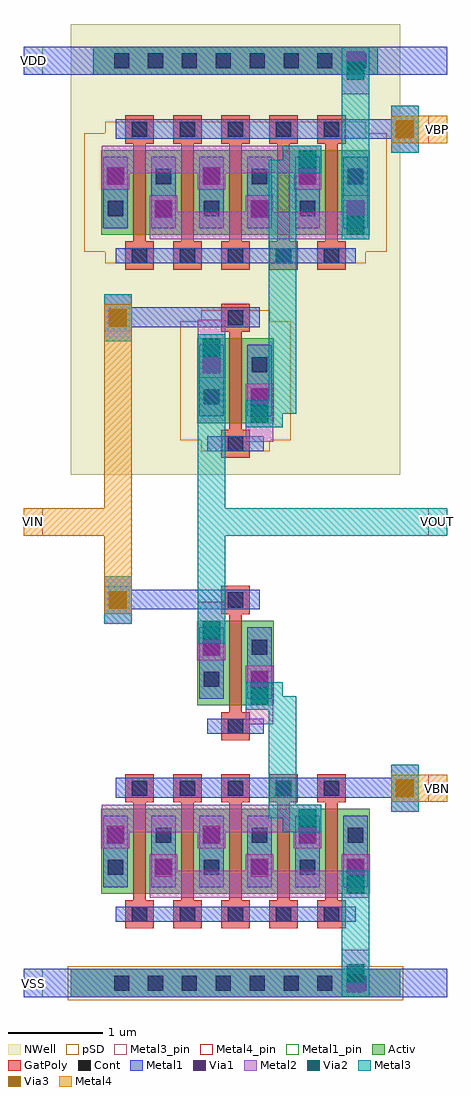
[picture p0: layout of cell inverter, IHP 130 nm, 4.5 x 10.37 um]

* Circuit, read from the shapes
.subckt inverter VBN VBP VDD VIN VOUT VSS
XM1 VSS VBN dev_n_w0p9_l0p13_ng5_noguard_m1_3/D0 VSS sg13_lv_nmos w=0.9u l=0.13u m=5
XM2 dev_n_w0p9_l0p13_ng5_noguard_m1_3/D0 VIN VOUT VSS sg13_lv_nmos w=0.9u l=0.13u
XM3 VDD VBP dev_p_w0p9_l0p13_ng5_noguard_m1_0/D0 VDD sg13_lv_pmos w=0.9u l=0.13u m=5
XM4 dev_p_w0p9_l0p13_ng5_noguard_m1_0/D0 VIN VOUT VDD sg13_lv_pmos w=0.9u l=0.13u
.ends

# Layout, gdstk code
import gdstk
lib = gdstk.Library(unit=1e-6, precision=1e-09)
def R(c, l, rs):  # rectangles x0, y0, x1, y1
    for r in rs: c.add(gdstk.rectangle(r[:2], r[2:], *l))
def A(c, l, x, y, w, h, nx, ny, dx, dy):  # array of equal rectangles
    R(c, l, [(x+i*dx, y+j*dy, x+i*dx+w, y+j*dy+h) for i in range(nx) for j in range(ny)])
Activ = (1, 0)
GatPoly = (5, 0)
Cont = (6, 0)
Metal1 = (8, 0)
Metal1_pin = (8, 2)
Metal2 = (10, 0)
pSD = (14, 0)
Via1 = (19, 0)
Via2 = (29, 0)
Metal3 = (30, 0)
Metal3_pin = (30, 2)
NWell = (31, 0)
Via3 = (49, 0)
Metal4 = (50, 0)
Metal4_pin = (50, 2)

dev_p_w0p9_l0p13_ng5_nog = lib.new_cell('dev_p_w0p9_l0p13_ng5_noguard_m1')
R(dev_p_w0p9_l0p13_ng5_nog, Activ, [(-1.425,-0.45,1.425,0.45)])
A(dev_p_w0p9_l0p13_ng5_nog, GatPoly, -1.17, -0.82, 0.3, 0.3, 5, 2, 0.51, 1.34)
A(dev_p_w0p9_l0p13_ng5_nog, GatPoly, -1.085, -0.52, 0.13, 1.04, 5, 1, 0.51, 0)
A(dev_p_w0p9_l0p13_ng5_nog, Cont, -1.1, -0.75, 0.16, 0.16, 5, 2, 0.51, 1.34)
A(dev_p_w0p9_l0p13_ng5_nog, Cont, -1.355, -0.25, 0.16, 0.16, 6, 2, 0.51, 0.34)
A(dev_p_w0p9_l0p13_ng5_nog, Metal1, -1.405, -0.38, 0.26, 0.76, 6, 1, 0.51, 0)
R(dev_p_w0p9_l0p13_ng5_nog, Metal1, [(-1.275,-0.75,1.275,-0.59), (-1.275,0.59,1.275,0.75)])
R(dev_p_w0p9_l0p13_ng5_nog, pSD, [(-1.385,-0.75,1.385,-0.63), (-1.605,-0.63,1.605,0.63), (-1.385,0.63,1.385,0.75)])
R(dev_p_w0p9_l0p13_ng5_nog, NWell, [(-1.735,-0.76,1.735,0.76)])
dev_p_w0p9_l0p13_ng5_nog.add(gdstk.Label('D0', (-1.275,0), layer=8, texttype=25))
dev_p_w0p9_l0p13_ng5_nog.add(gdstk.Label('G', (1.02,0.67), layer=8, texttype=25))
dev_p_w0p9_l0p13_ng5_nog.add(gdstk.Label('G', (0.51,0.67), layer=8, texttype=25))
dev_p_w0p9_l0p13_ng5_nog.add(gdstk.Label('G', (0,0.67), layer=8, texttype=25))
dev_p_w0p9_l0p13_ng5_nog.add(gdstk.Label('G', (-0.51,0.67), layer=8, texttype=25))
dev_p_w0p9_l0p13_ng5_nog.add(gdstk.Label('G', (-1.02,0.67), layer=8, texttype=25))
dev_p_w0p9_l0p13_ng5_nog.add(gdstk.Label('S1', (-0.765,0), layer=8, texttype=25))
dev_p_w0p9_l0p13_ng5_nog.add(gdstk.Label('D2', (-0.255,0), layer=8, texttype=25))
dev_p_w0p9_l0p13_ng5_nog.add(gdstk.Label('S3', (0.255,0), layer=8, texttype=25))
dev_p_w0p9_l0p13_ng5_nog.add(gdstk.Label('D4', (0.765,0), layer=8, texttype=25))
dev_p_w0p9_l0p13_ng5_nog.add(gdstk.Label('S4', (1.275,0), layer=8, texttype=25))

dev_p_w0p9_l0p13_ng1_nog = lib.new_cell('dev_p_w0p9_l0p13_ng1_noguard_m1')
R(dev_p_w0p9_l0p13_ng1_nog, Activ, [(-0.405,-0.45,0.405,0.45)])
R(dev_p_w0p9_l0p13_ng1_nog, GatPoly, [(-0.15,-0.82,0.15,-0.52), (-0.065,-0.52,0.065,0.52), (-0.15,0.52,0.15,0.82)])
R(dev_p_w0p9_l0p13_ng1_nog, Cont, [(-0.08,-0.75,0.08,-0.59), (-0.335,-0.25,-0.175,-0.09), (0.175,-0.25,0.335,-0.09), (-0.335,0.09,-0.175,0.25), (0.175,0.09,0.335,0.25), (-0.08,0.59,0.08,0.75)])
R(dev_p_w0p9_l0p13_ng1_nog, Metal1, [(-0.255,-0.75,0.255,-0.59), (-0.385,-0.38,-0.125,0.38), (0.125,-0.38,0.385,0.38), (-0.255,0.59,0.255,0.75)])
R(dev_p_w0p9_l0p13_ng1_nog, pSD, [(-0.365,-0.75,0.365,-0.63), (-0.585,-0.63,0.585,0.63), (-0.365,0.63,0.365,0.75)])
R(dev_p_w0p9_l0p13_ng1_nog, NWell, [(-0.715,-0.76,0.715,0.76)])
dev_p_w0p9_l0p13_ng1_nog.add(gdstk.Label('D', (-0.255,0), layer=8, texttype=25))
dev_p_w0p9_l0p13_ng1_nog.add(gdstk.Label('S', (0.255,0), layer=8, texttype=25))
dev_p_w0p9_l0p13_ng1_nog.add(gdstk.Label('G', (0,0.67), layer=8, texttype=25))

dev_n_w0p9_l0p13_ng1_nog = lib.new_cell('dev_n_w0p9_l0p13_ng1_noguard_m1')
R(dev_n_w0p9_l0p13_ng1_nog, Activ, [(-0.405,-0.45,0.405,0.45)])
R(dev_n_w0p9_l0p13_ng1_nog, GatPoly, [(-0.15,-0.82,0.15,-0.52), (-0.065,-0.52,0.065,0.52), (-0.15,0.52,0.15,0.82)])
R(dev_n_w0p9_l0p13_ng1_nog, Cont, [(-0.08,-0.75,0.08,-0.59), (-0.335,-0.25,-0.175,-0.09), (0.175,-0.25,0.335,-0.09), (-0.335,0.09,-0.175,0.25), (0.175,0.09,0.335,0.25), (-0.08,0.59,0.08,0.75)])
R(dev_n_w0p9_l0p13_ng1_nog, Metal1, [(-0.255,-0.75,0.255,-0.59), (-0.385,-0.38,-0.125,0.38), (0.125,-0.38,0.385,0.38), (-0.255,0.59,0.255,0.75)])
dev_n_w0p9_l0p13_ng1_nog.add(gdstk.Label('D', (-0.255,0), layer=8, texttype=25))
dev_n_w0p9_l0p13_ng1_nog.add(gdstk.Label('S', (0.255,0), layer=8, texttype=25))
dev_n_w0p9_l0p13_ng1_nog.add(gdstk.Label('G', (0,0.67), layer=8, texttype=25))

dev_n_w0p9_l0p13_ng5_nog = lib.new_cell('dev_n_w0p9_l0p13_ng5_noguard_m1')
R(dev_n_w0p9_l0p13_ng5_nog, Activ, [(-1.425,-0.45,1.425,0.45)])
A(dev_n_w0p9_l0p13_ng5_nog, GatPoly, -1.17, -0.82, 0.3, 0.3, 5, 2, 0.51, 1.34)
A(dev_n_w0p9_l0p13_ng5_nog, GatPoly, -1.085, -0.52, 0.13, 1.04, 5, 1, 0.51, 0)
A(dev_n_w0p9_l0p13_ng5_nog, Cont, -1.1, -0.75, 0.16, 0.16, 5, 2, 0.51, 1.34)
A(dev_n_w0p9_l0p13_ng5_nog, Cont, -1.355, -0.25, 0.16, 0.16, 6, 2, 0.51, 0.34)
A(dev_n_w0p9_l0p13_ng5_nog, Metal1, -1.405, -0.38, 0.26, 0.76, 6, 1, 0.51, 0)
R(dev_n_w0p9_l0p13_ng5_nog, Metal1, [(-1.275,-0.75,1.275,-0.59), (-1.275,0.59,1.275,0.75)])
dev_n_w0p9_l0p13_ng5_nog.add(gdstk.Label('D0', (-1.275,0), layer=8, texttype=25))
dev_n_w0p9_l0p13_ng5_nog.add(gdstk.Label('G', (1.02,0.67), layer=8, texttype=25))
dev_n_w0p9_l0p13_ng5_nog.add(gdstk.Label('G', (0.51,0.67), layer=8, texttype=25))
dev_n_w0p9_l0p13_ng5_nog.add(gdstk.Label('G', (0,0.67), layer=8, texttype=25))
dev_n_w0p9_l0p13_ng5_nog.add(gdstk.Label('G', (-0.51,0.67), layer=8, texttype=25))
dev_n_w0p9_l0p13_ng5_nog.add(gdstk.Label('G', (-1.02,0.67), layer=8, texttype=25))
dev_n_w0p9_l0p13_ng5_nog.add(gdstk.Label('S1', (-0.765,0), layer=8, texttype=25))
dev_n_w0p9_l0p13_ng5_nog.add(gdstk.Label('D2', (-0.255,0), layer=8, texttype=25))
dev_n_w0p9_l0p13_ng5_nog.add(gdstk.Label('S3', (0.255,0), layer=8, texttype=25))
dev_n_w0p9_l0p13_ng5_nog.add(gdstk.Label('D4', (0.765,0), layer=8, texttype=25))
dev_n_w0p9_l0p13_ng5_nog.add(gdstk.Label('S4', (1.275,0), layer=8, texttype=25))

inverter = lib.new_cell('inverter')
R(inverter, Activ, [(-1.75,-3.55,1.75,-3.25), (-1.51,6.25,1.51,6.55)])
A(inverter, Cont, -1.29, -3.48, 0.16, 0.16, 8, 2, 0.36, 9.8)
A(inverter, Metal1, -0.865, -2.275, 0.2, 0.2, 3, 2, 1.02, 7)
A(inverter, Metal1, -1.375, -1.925, 0.2, 0.2, 3, 2, 1.02, 7)
R(inverter, Metal1, [(-2.25,-3.55,2.25,-3.25), (1.655,-1.475,1.945,-1.43), (-1.275,-1.43,1.945,-1.22), (1.655,-1.22,1.945,-1.185), (-0.3,-0.75,0.3,-0.59), (0.155,-0.275,0.355,-0.075), (-0.355,0.075,-0.155,0.275), (-1.395,0.525,-1.105,0.57), (-1.395,0.57,0.255,0.78), (-1.395,0.78,-1.105,0.815), (-0.3,2.25,0.3,2.41), (0.155,2.725,0.355,2.925), (-0.355,3.075,-0.155,3.275), (-1.395,3.525,-1.105,3.57), (-1.395,3.57,0.255,3.78), (-1.395,3.78,-1.105,3.815), (1.655,5.525,1.945,5.57), (-1.275,5.57,1.945,5.78), (1.655,5.78,1.945,5.815), (-2.25,6.25,2.25,6.55)])
R(inverter, Metal1_pin, [(-2.25,-3.55,-2.05,-3.25), (-2.25,6.25,-2.05,6.55)])
A(inverter, Metal2, -0.91, -2.205, 0.29, 0.175, 3, 2, 1.02, 7)
A(inverter, Metal2, -1.42, -1.97, 0.29, 0.175, 3, 2, 1.02, 7)
R(inverter, Metal2, [(1.13,-3.545,1.42,-3.045), (-0.91,-2.495,1.42,-2.205), (-1.42,-1.795,0.91,-1.505), (1.655,-1.58,1.945,-1.08), (0.11,-0.65,0.4,-0.03), (-0.4,0.03,-0.11,0.65), (-1.395,0.42,-1.105,0.92), (0.11,2.35,0.4,2.97), (-0.4,3.03,-0.11,3.65), (-1.395,3.42,-1.105,3.92), (-0.91,4.505,1.42,4.795), (-1.42,5.205,0.91,5.495), (1.655,5.42,1.945,5.92), (1.13,6.045,1.42,6.545)])
R(inverter, pSD, [(-1.78,-3.58,1.78,-3.22)])
A(inverter, Via1, -0.86, -2.27, 0.19, 0.19, 3, 2, 1.02, 7)
A(inverter, Via1, -1.37, -1.92, 0.19, 0.19, 3, 2, 1.02, 7)
R(inverter, Via1, [(1.18,-3.495,1.37,-3.305), (1.705,-1.425,1.895,-1.235), (0.16,-0.27,0.35,-0.08), (-0.35,0.08,-0.16,0.27), (-1.345,0.575,-1.155,0.765), (0.16,2.73,0.35,2.92), (-0.35,3.08,-0.16,3.27), (-1.345,3.575,-1.155,3.765), (1.705,5.575,1.895,5.765), (1.18,6.305,1.37,6.495)])
R(inverter, Via2, [(1.18,-3.39,1.37,-3.2), (1.18,-2.445,1.37,-2.255), (0.67,-1.745,0.86,-1.555), (1.705,-1.425,1.895,-1.235), (0.16,-0.445,0.35,-0.255), (-0.35,0.255,-0.16,0.445), (-1.345,0.575,-1.155,0.765), (0.16,2.555,0.35,2.745), (-0.35,3.255,-0.16,3.445), (-1.345,3.575,-1.155,3.765), (1.18,4.555,1.37,4.745), (0.67,5.255,0.86,5.445), (1.705,5.575,1.895,5.765), (1.18,6.2,1.37,6.39)])
R(inverter, Metal3, [(1.13,-3.545,1.42,-2.205), (0.5,-1.795,0.91,-1.65), (0.355,-1.65,0.91,-1.505), (1.655,-1.58,1.945,-1.08), (0.355,-1.505,0.645,-0.495), (0.11,-0.495,0.645,-0.35), (0.11,-0.35,0.5,-0.205), (-0.4,0.205,-0.11,1.355), (-1.395,0.42,-1.105,0.92), (-0.4,1.355,2.25,1.645), (-0.4,1.645,-0.11,3.495), (0.11,2.505,0.5,2.65), (0.11,2.65,0.645,2.795), (0.355,2.795,0.645,5.205), (-1.395,3.42,-1.105,3.92), (1.13,4.505,1.42,6.545), (0.355,5.205,0.91,5.35), (0.5,5.35,0.91,5.495), (1.655,5.42,1.945,5.92)])
R(inverter, Metal3_pin, [(2.05,1.355,2.25,1.645)])
R(inverter, NWell, [(-1.75,2,1.75,6.79)])
R(inverter, Via3, [(1.705,-1.425,1.895,-1.235), (-1.345,0.575,-1.155,0.765), (-1.345,3.575,-1.155,3.765), (1.705,5.575,1.895,5.765)])
R(inverter, Metal4, [(1.655,-1.475,2.25,-1.185), (-1.395,0.525,-1.105,1.355), (-2.25,1.355,-1.105,1.645), (-1.395,1.645,-1.105,3.815), (1.655,5.525,2.25,5.815)])
R(inverter, Metal4_pin, [(2.05,-1.475,2.25,-1.185), (-2.25,1.355,-2.05,1.645), (2.05,5.525,2.25,5.815)])
inverter.add(gdstk.Reference(dev_p_w0p9_l0p13_ng5_nog, (0,5)))
inverter.add(gdstk.Reference(dev_p_w0p9_l0p13_ng1_nog, (0,3)))
inverter.add(gdstk.Reference(dev_n_w0p9_l0p13_ng1_nog, (0,0)))
inverter.add(gdstk.Reference(dev_n_w0p9_l0p13_ng5_nog, (0,-2)))
inverter.add(gdstk.Label('VIN', (-2.15,1.5), layer=50, texttype=25))
inverter.add(gdstk.Label('VOUT', (2.15,1.5), layer=30, texttype=25))
inverter.add(gdstk.Label('VBP', (2.15,5.67), layer=50, texttype=25))
inverter.add(gdstk.Label('VDD', (-2.15,6.4), layer=8, texttype=25))
inverter.add(gdstk.Label('VBN', (2.15,-1.33), layer=50, texttype=25))
inverter.add(gdstk.Label('VSS', (-2.15,-3.4), layer=8, texttype=25))

lib.write_gds('inverter.gds')
